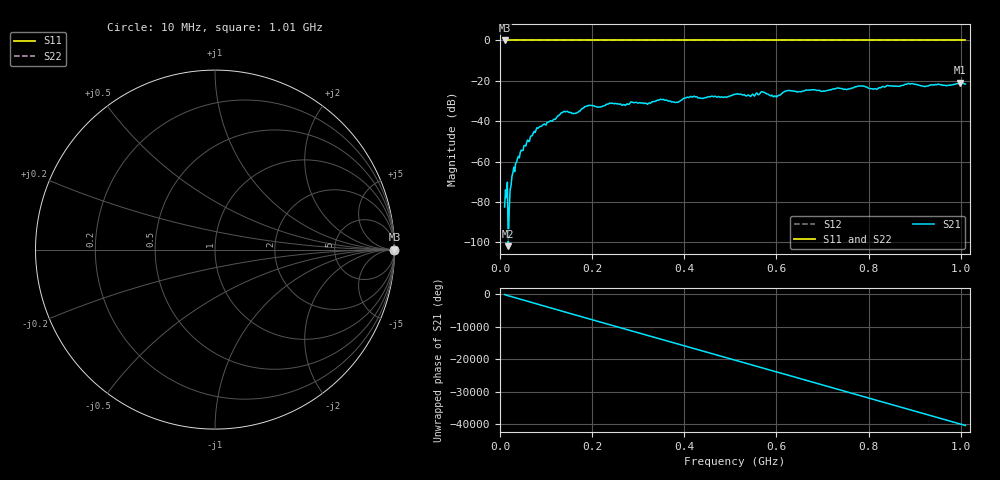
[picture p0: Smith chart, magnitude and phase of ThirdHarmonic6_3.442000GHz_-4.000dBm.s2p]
! 8/17/2025 11:05:47 AM
! C:\ANRITSUVNA\TEMP\TEMP.S2P
! CHANNEL.1
! TR.MEASUREMENT
! RAW.DATA
! RF.CORRECTION.OFF
! AVERAGING.OFF
! IF.BANDWIDTH: 5KHZ
! SWEEPTYPE:  FREQ.SWEEP(Linear)
! Reference Plane Port Info
! PORT:  PORT1  PORT2
! DISTANCE:  0  m  0  m
! TIME:  0  s  0  s
! PHASE.OFFSET:  0  deg.  0  deg.
! LOSS:  0  dB  0  dB
! REF.LOSS:  0  dB  0  dB
! REF.FREQ:  0  Hz  0  Hz
! Power Info
! POWER:  -20  dBm  -20  dBm
! EFF.POWER:  -20  dBm  -20  dBm
! SOURCE.ATTEN:  0  dB  0  dB
! TEST.ATTEN:  0  dB  0  dB
# GHZ S RI R 50.0
! FREQ.GHZ  S11RE  S11IM  S21RE  S21IM  S12RE  S12IM  S22RE  S22IM
!; PortSelection: Port_12
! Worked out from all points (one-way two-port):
!   501 points, 10 MHz to 1.01 GHz, reference 50 ohm
!   highest |S21| = -20.91 dB at 998 MHz (marker M1); lowest = -101.9 dB at 18 MHz (marker M2)
!   lowest |S11| = 0.0 dB at 10 MHz (marker M3)
!   |S11| at or under -10 dB: nowhere
!   |S22| runs from 0.0 to 0.0 dB; largest |S21 - S12| = 1.1
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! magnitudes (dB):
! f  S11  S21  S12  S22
! 10 MHz  0.0  -82.5  0.0  0.0
! 12 MHz  0.0  -74.0  0.0  0.0
! 18 MHz  0.0  -101.9  0.0  0.0
! 22 MHz  0.0  -73.8  0.0  0.0
! 30 MHz  0.0  -62.7  0.0  0.0
! 42 MHz  0.0  -58.1  0.0  0.0
! 76 MHz  0.0  -45.6  0.0  0.0
! 136 MHz  0.0  -35.6  0.0  0.0
! 164 MHz  0.0  -36.1  0.0  0.0
! 178 MHz  0.0  -33.7  0.0  0.0
! 196 MHz  0.0  -32.2  0.0  0.0
! 344 MHz  0.0  -29.7  0.0  0.0
! 384 MHz  0.0  -30.5  0.0  0.0
! 416 MHz  0.0  -27.9  0.0  0.0
! 510 MHz  0.0  -26.7  0.0  0.0
! 570 MHz  0.0  -25.4  0.0  0.0
! 598 MHz  0.0  -27.6  0.0  0.0
! 624 MHz  0.0  -24.8  0.0  0.0
! 678 MHz  0.0  -24.4  0.0  0.0
! 844 MHz  0.0  -22.4  0.0  0.0
! 998 MHz  0.0  -20.9  0.0  0.0
! 1.01 GHz  0.0  -21.6  0.0  0.0
